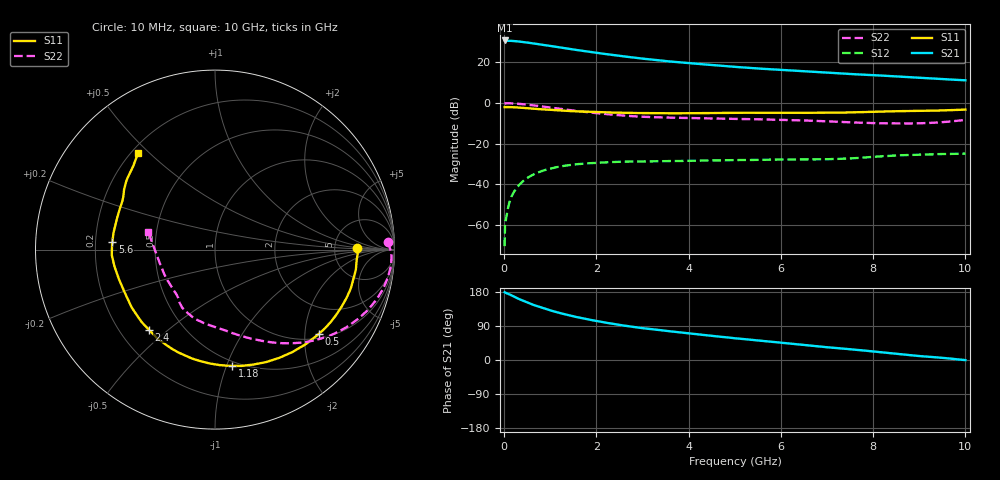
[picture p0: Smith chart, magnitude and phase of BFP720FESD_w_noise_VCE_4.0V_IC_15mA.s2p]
! Infineon Technologies  Discrete & RF Semiconductors
! BFP720FESD
! VCE =  4.0 V,  IC =  15 mA
! Common Emitter S-Parameters:  Jan 2016
# GHz  S  MA  R  50
!  f  S11  S21  S12  S22
! GHz  MAG  ANG  MAG  ANG  MAG  ANG  MAG  ANG
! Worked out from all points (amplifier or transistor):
!   233 points, 10 MHz to 10 GHz, reference 50 ohm
!   highest |S21| = 30.8 dB at 10 MHz (marker M1)
!   |S21| within 3 dB of that: start of sweep to 1.086 GHz
!   unconditionally stable (mu >= 1): start of sweep to 15.19 MHz; 6.023 GHz to end of sweep
!   at 200 MHz: K = 0.14, MSG = 37.4 dB, |S12| = -44.3 dB
!   at 1.74 GHz: K = 0.37, MSG = 27.7 dB, |S12| = -29.8 dB
!   at 10 GHz: K = 1.20, MAG = 15.3 dB, |S12| = -24.9 dB
!   lowest NFmin = 0.82 dB at 450 MHz
!   S11 on the Smith chart (normalised r, x): 10 MHz: 8.46, +0.43; 500 MHz: 1.12, -2.36; 1.18 GHz: 0.46, -1.05; 2.4 GHz: 0.32, -0.43; 5.6 GHz: 0.27, +0.03; 10 GHz: 0.23, +0.46
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0.01  0.789 0.7  34.53 178.8  0.0003 8.5  0.9621 2.4
0.02  0.7956 -1.5  34.2 177.9  0.0011 55.0  0.9797 -0.3
0.03  0.7941 -2.3  34.09 177.4  0.0013 60.1  0.9811 -0.8
0.2  0.7866 -16.2  33.51 168.0  0.0061 76.9  0.9745 -9.4
0.34  0.7686 -27.2  32.36 159.9  0.01 73.2  0.9486 -15.8
0.5  0.7453 -39.0  30.7 151.7  0.0142 68.0  0.9106 -22.3
0.64  0.7234 -48.8  29.15 145.2  0.0175 63.7  0.8727 -27.6
0.82  0.6983 -60.4  27.15 137.7  0.0212 58.5  0.8238 -33.8
0.98  0.6774 -70.3  25.5 131.7  0.024 54.2  0.78 -39.0
1.18  0.6553 -81.6  23.55 124.9  0.0269 49.4  0.7271 -44.9
1.4  0.6348 -92.9  21.54 118.0  0.0295 44.7  0.6733 -50.8
1.68  0.6141 -105.2  19.33 110.4  0.0319 39.8  0.6152 -57.4
2  0.5974 -116.7  17.12 103.0  0.0338 35.6  0.5622 -64.0
2.4  0.5792 -129.7  14.94 94.6  0.0355 31.2  0.5103 -71.8
2.98  0.565 -144.9  12.42 84.3  0.0365 26.9  0.459 -81.6
3.4  0.5574 -152.9  11.04 78.5  0.0369 26.1  0.4418 -86.3
4.2  0.5619 -165.9  9.161 67.8  0.0382 24.9  0.4219 -94.3
5.1  0.5752 -178.2  7.601 56.3  0.0393 24.2  0.4044 -104.0
5.6  0.5734 175.8  6.944 50.4  0.04 24.2  0.3948 -108.9
6.8  0.5745 159.5  5.757 36.2  0.0412 25.8  0.3613 -122.1
8.4  0.6236 142.5  4.575 17.6  0.0504 30.2  0.3153 -148.2
10  0.688 128.7  3.613 -0.3  0.0567 24.5  0.3841 165.4
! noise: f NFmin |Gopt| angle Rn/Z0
0.45  0.82  0.14  0  0.11
2.4  0.85  0.09  25  0.13
5.5  1  0.23  133  0.09
10  1.44  0.27  -137  0.13
